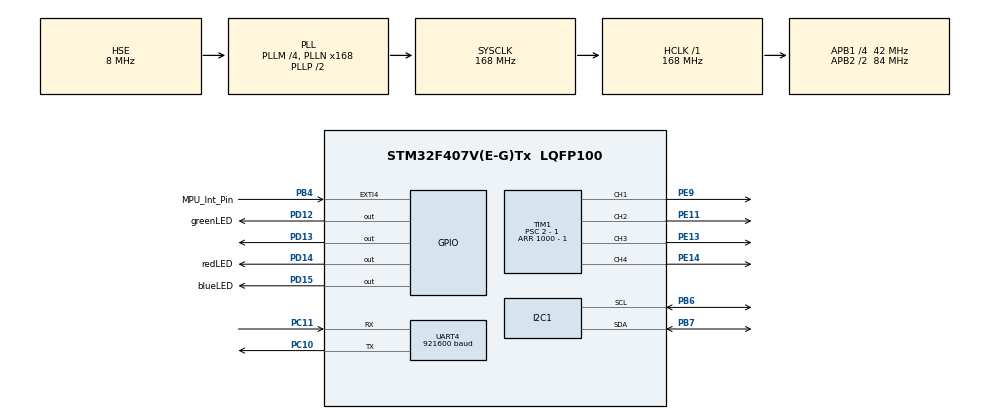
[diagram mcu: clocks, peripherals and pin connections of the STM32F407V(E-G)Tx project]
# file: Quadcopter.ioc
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Dma.Request0=TIM1_CH1
Dma.Request1=TIM1_CH2
Dma.Request2=TIM1_CH3
Dma.Request3=TIM1_CH4/TRIG/COM
Dma.TIM1_CH1.0.Direction=DMA_MEMORY_TO_PERIPH
Dma.TIM1_CH1.0.FIFOMode=DMA_FIFOMODE_DISABLE
Dma.TIM1_CH1.0.Instance=DMA2_Stream1
Dma.TIM1_CH1.0.MemDataAlignment=DMA_MDATAALIGN_HALFWORD
Dma.TIM1_CH1.0.MemInc=DMA_MINC_ENABLE
Dma.TIM1_CH1.0.Mode=DMA_NORMAL
Dma.TIM1_CH1.0.PeriphDataAlignment=DMA_PDATAALIGN_HALFWORD
Dma.TIM1_CH1.0.PeriphInc=DMA_PINC_DISABLE
Dma.TIM1_CH1.0.Priority=DMA_PRIORITY_LOW
Dma.TIM1_CH2.1.Direction=DMA_MEMORY_TO_PERIPH
Dma.TIM1_CH2.1.FIFOMode=DMA_FIFOMODE_DISABLE
Dma.TIM1_CH2.1.Instance=DMA2_Stream2
Dma.TIM1_CH2.1.MemDataAlignment=DMA_MDATAALIGN_HALFWORD
Dma.TIM1_CH2.1.MemInc=DMA_MINC_ENABLE
Dma.TIM1_CH2.1.Mode=DMA_NORMAL
Dma.TIM1_CH2.1.PeriphDataAlignment=DMA_PDATAALIGN_HALFWORD
Dma.TIM1_CH2.1.PeriphInc=DMA_PINC_DISABLE
Dma.TIM1_CH2.1.Priority=DMA_PRIORITY_LOW
Dma.TIM1_CH3.2.Direction=DMA_MEMORY_TO_PERIPH
Dma.TIM1_CH3.2.FIFOMode=DMA_FIFOMODE_DISABLE
Dma.TIM1_CH3.2.Instance=DMA2_Stream6
Dma.TIM1_CH3.2.MemDataAlignment=DMA_MDATAALIGN_HALFWORD
Dma.TIM1_CH3.2.MemInc=DMA_MINC_ENABLE
Dma.TIM1_CH3.2.Mode=DMA_NORMAL
Dma.TIM1_CH3.2.PeriphDataAlignment=DMA_PDATAALIGN_HALFWORD
Dma.TIM1_CH3.2.PeriphInc=DMA_PINC_DISABLE
Dma.TIM1_CH3.2.Priority=DMA_PRIORITY_LOW
Dma.TIM1_CH4/TRIG/COM.3.Direction=DMA_MEMORY_TO_PERIPH
Dma.TIM1_CH4/TRIG/COM.3.FIFOMode=DMA_FIFOMODE_DISABLE
Dma.TIM1_CH4/TRIG/COM.3.Instance=DMA2_Stream4
Dma.TIM1_CH4/TRIG/COM.3.MemDataAlignment=DMA_MDATAALIGN_HALFWORD
Dma.TIM1_CH4/TRIG/COM.3.MemInc=DMA_MINC_ENABLE
Dma.TIM1_CH4/TRIG/COM.3.Mode=DMA_NORMAL
Dma.TIM1_CH4/TRIG/COM.3.PeriphDataAlignment=DMA_PDATAALIGN_HALFWORD
Dma.TIM1_CH4/TRIG/COM.3.PeriphInc=DMA_PINC_DISABLE
Dma.TIM1_CH4/TRIG/COM.3.Priority=DMA_PRIORITY_LOW
Mcu.Family=STM32F4
Mcu.Name=STM32F407V(E-G)Tx
Mcu.Package=LQFP100
NVIC.DMA2_Stream1_IRQn=true\:0\:0\:false\:false\:true\:false\:true\:true
NVIC.DMA2_Stream2_IRQn=true\:0\:0\:false\:false\:true\:false\:true\:true
NVIC.DMA2_Stream4_IRQn=true\:0\:0\:false\:false\:true\:false\:true\:true
NVIC.DMA2_Stream6_IRQn=true\:0\:0\:false\:false\:true\:false\:true\:true
NVIC.PriorityGroup=NVIC_PRIORITYGROUP_4
NVIC.TIM2_IRQn=true\:15\:0\:false\:false\:true\:false\:true\:true
NVIC.TIM8_TRG_COM_TIM14_IRQn=true\:0\:0\:false\:false\:true\:true\:true\:true
NVIC.TimeBase=TIM2_IRQn
NVIC.TimeBaseIP=TIM2
PA13.Mode=Serial_Wire
PA13.Signal=SYS_JTMS-SWDIO
PA14.Mode=Serial_Wire
PA14.Signal=SYS_JTCK-SWCLK
PB4.GPIO_Label=MPU_Int_Pin
PB4.GPIO_PuPd=GPIO_PULLDOWN
PB4.Signal=GPXTI4
PB6.Mode=I2C
PB6.Signal=I2C1_SCL
PB7.Mode=I2C
PB7.Signal=I2C1_SDA
PC10.Mode=Asynchronous
PC10.Signal=UART4_TX
PC11.Mode=Asynchronous
PC11.Signal=UART4_RX
PC14-OSC32_IN.Mode=LSE-External-Oscillator
PC14-OSC32_IN.Signal=RCC_OSC32_IN
PC15-OSC32_OUT.Mode=LSE-External-Oscillator
PC15-OSC32_OUT.Signal=RCC_OSC32_OUT
PD12.GPIO_Label=greenLED
PD12.Signal=GPIO_Output
PD13.Signal=GPIO_Output
PD14.GPIO_Label=redLED
PD14.Signal=GPIO_Output
PD15.GPIO_Label=blueLED
PD15.Signal=GPIO_Output
PE11.Signal=S_TIM1_CH2
PE13.Signal=S_TIM1_CH3
PE14.Signal=S_TIM1_CH4
PE9.Signal=S_TIM1_CH1
PH0-OSC_IN.Mode=HSE-External-Oscillator
PH0-OSC_IN.Signal=RCC_OSC_IN
PH1-OSC_OUT.Mode=HSE-External-Oscillator
PH1-OSC_OUT.Signal=RCC_OSC_OUT
ProjectManager.HeapSize=0x2000
ProjectManager.StackSize=0x4000
ProjectManager.TargetToolchain=Makefile
RCC.48MHZClocksFreq_Value=84000000
RCC.AHBFreq_Value=168000000
RCC.APB1CLKDivider=RCC_HCLK_DIV4
RCC.APB1Freq_Value=42000000
RCC.APB1TimFreq_Value=84000000
RCC.APB2CLKDivider=RCC_HCLK_DIV2
RCC.APB2Freq_Value=84000000
RCC.APB2TimFreq_Value=168000000
RCC.CortexFreq_Value=168000000
RCC.HCLKFreq_Value=168000000
RCC.HSE_VALUE=8000000
RCC.HSI_VALUE=16000000
RCC.PLLM=4
RCC.PLLN=168
RCC.PLLSourceVirtual=RCC_PLLSOURCE_HSE
RCC.SYSCLKFreq_VALUE=168000000
RCC.SYSCLKSource=RCC_SYSCLKSOURCE_PLLCLK
RCC.VCOOutputFreq_Value=336000000
SH.S_TIM1_CH1.0=TIM1_CH1,PWM Generation1 CH1
SH.S_TIM1_CH2.0=TIM1_CH2,PWM Generation2 CH2
SH.S_TIM1_CH3.0=TIM1_CH3,PWM Generation3 CH3
SH.S_TIM1_CH4.0=TIM1_CH4,PWM Generation4 CH4
TIM1.Channel-PWM\ Generation1\ CH1=TIM_CHANNEL_1
TIM1.Channel-PWM\ Generation2\ CH2=TIM_CHANNEL_2
TIM1.Channel-PWM\ Generation3\ CH3=TIM_CHANNEL_3
TIM1.Channel-PWM\ Generation4\ CH4=TIM_CHANNEL_4
TIM1.Period=1000 - 1
TIM1.Prescaler=2 - 1
TIM14.Period=10 - 1
TIM14.Prescaler=1050 - 1
UART4.BaudRate=921600
UART4.VirtualMode=Asynchronous
VP_SYS_VS_tim2.Mode=TIM2
VP_TIM14_VS_ClockSourceINT.Mode=Enable_Timer
VP_TIM1_VS_ClockSourceINT.Mode=Internal
board=custom

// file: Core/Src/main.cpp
/* USER CODE BEGIN Header */
/**
 ******************************************************************************
 * @file           : main.c
 * @brief          : Main program body
 ******************************************************************************
 * @attention
 *
 * Copyright (c) 2024 STMicroelectronics.
 * All rights reserved.
 *
 * This software is licensed under terms that can be found in the LICENSE file
 * in the root directory of this software component.
 * If no LICENSE file comes with this software, it is provided AS-IS.
 *
 ******************************************************************************
 */
/* USER CODE END Header */
#include "main.h"

/* USER CODE BEGIN Includes */
#include "QuadcopterManager.h"
#include "wmpu.h"
#include "motor_pwm.h"
#include "Fusion.h"
#include "filter.h"
#include "glm/glm.hpp"
// #include "MPU9250.h"
/* USER CODE END Includes */

/* USER CODE BEGIN PD */

glm::vec3 filter_accel(glm::vec3 accel, glm::vec3 gyro, glm::vec3 mag, glm::vec3& rpy);

/* USER CODE END PD */

I2C_HandleTypeDef hi2c1;

TIM_HandleTypeDef htim1;
TIM_HandleTypeDef htim14;
DMA_HandleTypeDef hdma_tim1_ch1;
DMA_HandleTypeDef hdma_tim1_ch2;
DMA_HandleTypeDef hdma_tim1_ch3;
DMA_HandleTypeDef hdma_tim1_ch4_trig_com;

UART_HandleTypeDef huart4;

/* USER CODE BEGIN PV */

// MPUXX50 imu(&hi2c1, &huart4);
uint8_t serialBuf[100]{0};
bool timFlag = false;

/* Fusion Variables */
FusionEuler euler{0};
FusionVector earth{0};

FusionAhrs ahrs;
FusionOffset offset;

FusionVector accelerometer;
FusionVector gyroscope;
FusionVector magnetometer;

FusionMatrix gyroscopeMisalignment = {1.0f, 0.0f, 0.0f, 0.0f, 1.0f, 0.0f, 0.0f, 0.0f, 1.0f};
FusionVector gyroscopeSensitivity = {1.0f, 1.0f, 1.0f};
FusionVector gyroscopeOffset = {0.0f, 0.0f, 0.0f};
FusionMatrix accelerometerMisalignment = {1.0f, 0.0f, 0.0f, 0.0f, 1.0f, 0.0f, 0.0f, 0.0f, 1.0f};
FusionVector accelerometerSensitivity = {1.0f, 1.0f, 1.0f};
FusionVector accelerometerOffset = {0.0f, 0.0f, 0.0f};
FusionMatrix softIronMatrix = {1.0f, 0.0f, 0.0f, 0.0f, 1.0f, 0.0f, 0.0f, 0.0f, 1.0f};
FusionVector hardIronOffset = {0.0f, 0.0f, 0.0f};

uint32_t currentTimestamp = 0;
long int previousTimestamp = 0;
float deltaTime = 0.0f;
long int timestamp = 0;

/* USER CODE END PV */

void SystemClock_Config(void);
static void MX_GPIO_Init(void);
static void MX_DMA_Init(void);
static void MX_I2C1_Init(void);
static void MX_TIM14_Init(void);
static void MX_UART4_Init(void);
static void MX_TIM1_Init(void);

/* USER CODE BEGIN 0 */
void HAL_GPIO_EXTI_Callback(uint16_t GPIO_Pin)
{
}
/* USER CODE END 0 */

int main(void)
{

  /* MCU Configuration--------------------------------------------------------*/

  /* Reset of all peripherals, Initializes the Flash interface and the Systick. */
  HAL_Init();

  /* Configure the system clock */
  SystemClock_Config();

  /* Initialize all configured peripherals */
  MX_GPIO_Init();
  MX_DMA_Init();
  MX_I2C1_Init();
  MX_TIM14_Init();
  MX_UART4_Init();
  MX_TIM1_Init();
  /* USER CODE BEGIN 2 */
  snprintf((char*)serialBuf, sizeof(serialBuf), "MPU Init\r\n");
  HAL_UART_Transmit(&huart4, serialBuf, strlen((char*)serialBuf), HAL_MAX_DELAY);

  HAL_TIM_Base_Start_IT(&htim14);

  I2C_HandleTypeDef *i2c_handles[] = {&hi2c1};
  size_t num_devices = sizeof(i2c_handles) / sizeof(i2c_handles[0]);
  WMPU wmpu(i2c_handles, num_devices, &huart4);

  wmpu._init();

  Attitude data_sum{0};
  madgwickf madgwick_data{0};

  // MotorPWMManager motorPWMManager(&htim1, TIM_CHANNEL_1);
  // motorPWMManager._init();

  FusionAhrsInitialise(&ahrs);
  FusionOffsetInitialise(&offset, 1000);

  const FusionAhrsSettings settings = {
          .convention = FusionConventionNwu,
          .gain = 0.5f,
          .gyroscopeRange = 2000.0f, /* replace this with actual gyroscope range in degrees/s */
          .accelerationRejection = 10.0f,
          .magneticRejection = 10.0f,
          .recoveryTriggerPeriod = 5 /* 5 seconds */
  };
  FusionAhrsSetSettings(&ahrs, &settings);

  double ax, ay, az, gx, gy, gz, mx, my, mz;
  long gt{0};
  double roll, pitch, yaw;

  double deltaT{0.};
  uint32_t newTime{0}, oldTime{0};

  /* USER CODE END 2 */

  /* Infinite loop */
  while (1)
  {

    /* USER CODE BEGIN 3 */

    if (timFlag)
    {
      // processedData = imu._process_data();

      // wmpu._set_computed_average_rpy(20, madgwick_data);
      wmpu._get_processed_all_data(ax, ay, az, gx, gy, gz, gt, mx, my, mz);
      accelerometer = {static_cast<float>(ax), static_cast<float>(ay), static_cast<float>(az)};
      gyroscope = {static_cast<float>(gx), static_cast<float>(gy), static_cast<float>(gz)};
      magnetometer = {static_cast<float>(mx), static_cast<float>(my), static_cast<float>(mz)};
      timestamp = gt;

      // Apply calibration
      gyroscope = FusionCalibrationInertial(gyroscope, gyroscopeMisalignment, gyroscopeSensitivity, gyroscopeOffset);
      accelerometer = FusionCalibrationInertial(accelerometer, accelerometerMisalignment, accelerometerSensitivity, accelerometerOffset);
      magnetometer = FusionCalibrationMagnetic(magnetometer, softIronMatrix, hardIronOffset);

      // Update gyroscope offset correction algorithm
      gyroscope = FusionOffsetUpdate(&offset, gyroscope);

      // Calculate delta time (in seconds) to account for gyroscope sample clock error
      deltaTime = (float) (timestamp - previousTimestamp) / (float) 1000.f;
      previousTimestamp = timestamp;

      FusionAhrsUpdate(&ahrs, gyroscope, accelerometer, magnetometer, deltaTime);

      euler = FusionQuaternionToEuler(FusionAhrsGetQuaternion(&ahrs));
      earth = FusionAhrsGetEarthAcceleration(&ahrs);

      roll = static_cast<double>(euler.angle.roll);
      pitch = static_cast<double>(euler.angle.pitch);
      yaw  = static_cast<double>(euler.angle.yaw);

      wmpu._print_roll_pitch_yaw(roll, pitch, yaw, &huart4);

      HAL_GPIO_TogglePin(blueLED_GPIO_Port, blueLED_Pin);
      timFlag = false;
    }
  }
  /* USER CODE END 3 */
}
void SystemClock_Config(void)
{
  RCC_OscInitTypeDef RCC_OscInitStruct = {0};
  RCC_ClkInitTypeDef RCC_ClkInitStruct = {0};

  /** Configure the main internal regulator output voltage
  */
  __HAL_RCC_PWR_CLK_ENABLE();
  __HAL_PWR_VOLTAGESCALING_CONFIG(PWR_REGULATOR_VOLTAGE_SCALE1);

  /** Initializes the RCC Oscillators according to the specified parameters
  * in the RCC_OscInitTypeDef structure.
  */
  RCC_OscInitStruct.OscillatorType = RCC_OSCILLATORTYPE_HSE;
  RCC_OscInitStruct.HSEState = RCC_HSE_ON;
  RCC_OscInitStruct.PLL.PLLState = RCC_PLL_ON;
  RCC_OscInitStruct.PLL.PLLSource = RCC_PLLSOURCE_HSE;
  RCC_OscInitStruct.PLL.PLLM = 4;
  RCC_OscInitStruct.PLL.PLLN = 168;
  RCC_OscInitStruct.PLL.PLLP = RCC_PLLP_DIV2;
  RCC_OscInitStruct.PLL.PLLQ = 4;
  if (HAL_RCC_OscConfig(&RCC_OscInitStruct) != HAL_OK)
  {
    Error_Handler();
  }

  /** Initializes the CPU, AHB and APB buses clocks
  */
  RCC_ClkInitStruct.ClockType = RCC_CLOCKTYPE_HCLK|RCC_CLOCKTYPE_SYSCLK
                              |RCC_CLOCKTYPE_PCLK1|RCC_CLOCKTYPE_PCLK2;
  RCC_ClkInitStruct.SYSCLKSource = RCC_SYSCLKSOURCE_PLLCLK;
  RCC_ClkInitStruct.AHBCLKDivider = RCC_SYSCLK_DIV1;
  RCC_ClkInitStruct.APB1CLKDivider = RCC_HCLK_DIV4;
  RCC_ClkInitStruct.APB2CLKDivider = RCC_HCLK_DIV2;

  if (HAL_RCC_ClockConfig(&RCC_ClkInitStruct, FLASH_LATENCY_5) != HAL_OK)
  {
    Error_Handler();
  }
}

static void MX_I2C1_Init(void)
{

  hi2c1.Instance = I2C1;
  hi2c1.Init.ClockSpeed = 100000;
  hi2c1.Init.DutyCycle = I2C_DUTYCYCLE_2;
  hi2c1.Init.OwnAddress1 = 0;
  hi2c1.Init.AddressingMode = I2C_ADDRESSINGMODE_7BIT;
  hi2c1.Init.DualAddressMode = I2C_DUALADDRESS_DISABLE;
  hi2c1.Init.OwnAddress2 = 0;
  hi2c1.Init.GeneralCallMode = I2C_GENERALCALL_DISABLE;
  hi2c1.Init.NoStretchMode = I2C_NOSTRETCH_DISABLE;
  if (HAL_I2C_Init(&hi2c1) != HAL_OK)
  {
    Error_Handler();
  }

}

static void MX_TIM1_Init(void)
{

  TIM_ClockConfigTypeDef sClockSourceConfig = {0};
  TIM_MasterConfigTypeDef sMasterConfig = {0};
  TIM_OC_InitTypeDef sConfigOC = {0};
  TIM_BreakDeadTimeConfigTypeDef sBreakDeadTimeConfig = {0};

  htim1.Instance = TIM1;
  htim1.Init.Prescaler = 2 - 1;
  htim1.Init.CounterMode = TIM_COUNTERMODE_UP;
  htim1.Init.Period = 1000 - 1;
  htim1.Init.ClockDivision = TIM_CLOCKDIVISION_DIV1;
  htim1.Init.RepetitionCounter = 0;
  htim1.Init.AutoReloadPreload = TIM_AUTORELOAD_PRELOAD_DISABLE;
  if (HAL_TIM_Base_Init(&htim1) != HAL_OK)
  {
    Error_Handler();
  }
  sClockSourceConfig.ClockSource = TIM_CLOCKSOURCE_INTERNAL;
  if (HAL_TIM_ConfigClockSource(&htim1, &sClockSourceConfig) != HAL_OK)
  {
    Error_Handler();
  }
  if (HAL_TIM_PWM_Init(&htim1) != HAL_OK)
  {
    Error_Handler();
  }
  sMasterConfig.MasterOutputTrigger = TIM_TRGO_RESET;
  sMasterConfig.MasterSlaveMode = TIM_MASTERSLAVEMODE_DISABLE;
  if (HAL_TIMEx_MasterConfigSynchronization(&htim1, &sMasterConfig) != HAL_OK)
  {
    Error_Handler();
  }
  sConfigOC.OCMode = TIM_OCMODE_PWM1;
  sConfigOC.Pulse = 0;
  sConfigOC.OCPolarity = TIM_OCPOLARITY_HIGH;
  sConfigOC.OCNPolarity = TIM_OCNPOLARITY_HIGH;
  sConfigOC.OCFastMode = TIM_OCFAST_DISABLE;
  sConfigOC.OCIdleState = TIM_OCIDLESTATE_RESET;
  sConfigOC.OCNIdleState = TIM_OCNIDLESTATE_RESET;
  if (HAL_TIM_PWM_ConfigChannel(&htim1, &sConfigOC, TIM_CHANNEL_1) != HAL_OK)
  {
    Error_Handler();
  }
  if (HAL_TIM_PWM_ConfigChannel(&htim1, &sConfigOC, TIM_CHANNEL_2) != HAL_OK)
  {
    Error_Handler();
  }
  if (HAL_TIM_PWM_ConfigChannel(&htim1, &sConfigOC, TIM_CHANNEL_3) != HAL_OK)
  {
    Error_Handler();
  }
  if (HAL_TIM_PWM_ConfigChannel(&htim1, &sConfigOC, TIM_CHANNEL_4) != HAL_OK)
  {
    Error_Handler();
  }
  sBreakDeadTimeConfig.OffStateRunMode = TIM_OSSR_DISABLE;
  sBreakDeadTimeConfig.OffStateIDLEMode = TIM_OSSI_DISABLE;
  sBreakDeadTimeConfig.LockLevel = TIM_LOCKLEVEL_OFF;
  sBreakDeadTimeConfig.DeadTime = 0;
  sBreakDeadTimeConfig.BreakState = TIM_BREAK_DISABLE;
  sBreakDeadTimeConfig.BreakPolarity = TIM_BREAKPOLARITY_HIGH;
  sBreakDeadTimeConfig.AutomaticOutput = TIM_AUTOMATICOUTPUT_DISABLE;
  if (HAL_TIMEx_ConfigBreakDeadTime(&htim1, &sBreakDeadTimeConfig) != HAL_OK)
  {
    Error_Handler();
  }
  HAL_TIM_MspPostInit(&htim1);

}

static void MX_TIM14_Init(void)
{

  /* USER CODE BEGIN TIM14_Init 1 */

  /* USER CODE END TIM14_Init 1 */          // to do 1khz timer 84MHz / 8400 = 10khz => 10khz / 10 = 1khz
  htim14.Instance = TIM14;
  htim14.Init.Prescaler = 8400 - 1;       //  8400 - 1
  htim14.Init.CounterMode = TIM_COUNTERMODE_UP;
  htim14.Init.Period = 10 - 1;            // 10 - 1
  htim14.Init.ClockDivision = TIM_CLOCKDIVISION_DIV1;
  htim14.Init.AutoReloadPreload = TIM_AUTORELOAD_PRELOAD_DISABLE;
  if (HAL_TIM_Base_Init(&htim14) != HAL_OK)
  {
    Error_Handler();
  }

}

static void MX_UART4_Init(void)
{

  huart4.Instance = UART4;
  huart4.Init.BaudRate = 921600;
  huart4.Init.WordLength = UART_WORDLENGTH_8B;
  huart4.Init.StopBits = UART_STOPBITS_1;
  huart4.Init.Parity = UART_PARITY_NONE;
  huart4.Init.Mode = UART_MODE_TX_RX;
  huart4.Init.HwFlowCtl = UART_HWCONTROL_NONE;
  huart4.Init.OverSampling = UART_OVERSAMPLING_16;
  if (HAL_UART_Init(&huart4) != HAL_OK)
  {
    Error_Handler();
  }

}

static void MX_DMA_Init(void)
{

  /* DMA controller clock enable */
  __HAL_RCC_DMA2_CLK_ENABLE();

  /* DMA interrupt init */
  /* DMA2_Stream1_IRQn interrupt configuration */
  HAL_NVIC_SetPriority(DMA2_Stream1_IRQn, 0, 0);
  HAL_NVIC_EnableIRQ(DMA2_Stream1_IRQn);
  /* DMA2_Stream2_IRQn interrupt configuration */
  HAL_NVIC_SetPriority(DMA2_Stream2_IRQn, 0, 0);
  HAL_NVIC_EnableIRQ(DMA2_Stream2_IRQn);
  /* DMA2_Stream4_IRQn interrupt configuration */
  HAL_NVIC_SetPriority(DMA2_Stream4_IRQn, 0, 0);
  HAL_NVIC_EnableIRQ(DMA2_Stream4_IRQn);
  /* DMA2_Stream6_IRQn interrupt configuration */
  HAL_NVIC_SetPriority(DMA2_Stream6_IRQn, 0, 0);
  HAL_NVIC_EnableIRQ(DMA2_Stream6_IRQn);

}

static void MX_GPIO_Init(void)
{
  GPIO_InitTypeDef GPIO_InitStruct = {0};

  /* GPIO Ports Clock Enable */
  __HAL_RCC_GPIOC_CLK_ENABLE();
  __HAL_RCC_GPIOH_CLK_ENABLE();
  __HAL_RCC_GPIOE_CLK_ENABLE();
  __HAL_RCC_GPIOD_CLK_ENABLE();
  __HAL_RCC_GPIOA_CLK_ENABLE();
  __HAL_RCC_GPIOB_CLK_ENABLE();

  /*Configure GPIO pin Output Level */
  HAL_GPIO_WritePin(GPIOD, greenLED_Pin|GPIO_PIN_13|redLED_Pin|blueLED_Pin, GPIO_PIN_RESET);

  /*Configure GPIO pins : greenLED_Pin PD13 redLED_Pin blueLED_Pin */
  GPIO_InitStruct.Pin = greenLED_Pin|GPIO_PIN_13|redLED_Pin|blueLED_Pin;
  GPIO_InitStruct.Mode = GPIO_MODE_OUTPUT_PP;
  GPIO_InitStruct.Pull = GPIO_NOPULL;
  GPIO_InitStruct.Speed = GPIO_SPEED_FREQ_LOW;
  HAL_GPIO_Init(GPIOD, &GPIO_InitStruct);

  /*Configure GPIO pin : MPU_Int_Pin_Pin */
  GPIO_InitStruct.Pin = MPU_Int_Pin_Pin;
  GPIO_InitStruct.Mode = GPIO_MODE_IT_RISING;
  GPIO_InitStruct.Pull = GPIO_PULLDOWN;
  HAL_GPIO_Init(MPU_Int_Pin_GPIO_Port, &GPIO_InitStruct);

}

void HAL_TIM_PeriodElapsedCallback(TIM_HandleTypeDef *htim)
{
  if (htim->Instance == TIM2) {
    HAL_IncTick();
  }
  /* USER CODE BEGIN Callback 1 */

  if (htim == &htim14)
  {

    timFlag = true;
  }

  /* USER CODE END Callback 1 */
}

void Error_Handler(void)
{
  __disable_irq();
  while (1)
  {
  }
}
